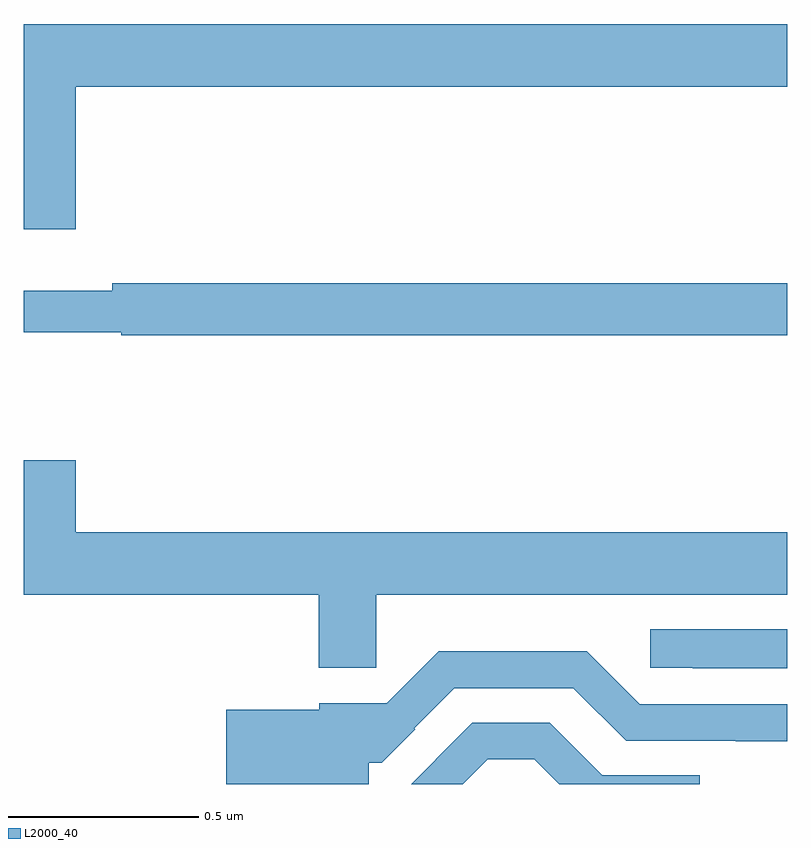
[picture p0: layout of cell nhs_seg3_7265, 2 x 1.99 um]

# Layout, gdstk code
import gdstk
lib = gdstk.Library(unit=1e-6, precision=1e-09)
def P(c, l, *ps):  # polygons
    for p in ps: c.add(gdstk.Polygon(p, *l))
L2000_40 = (2000, 40)

nhs_seg3_7265 = lib.new_cell('nhs_seg3_7265')
P(nhs_seg3_7265, L2000_40, [(201.136,722.228),(203,722.228),(203,722.392),(201,722.392),(201,721.854),(201.136,721.854)],
  [(203,721.712),(201.232,721.712),(201.232,721.693),(201,721.693),(201,721.584),(201.255,721.584),(201.255,721.576),(203,721.576)],
  [(201.923,720.896),(203,720.896),(203,721.06),(201.136,721.06),(201.136,721.249),(201,721.249),(201,720.896),(201.773,720.896),(201.773,720.705),(201.923,720.705)],
  [(203,720.805),(202.641,720.805),(202.641,720.705),(202.753,720.705),(202.753,720.704),(203,720.704)],
  [(201.904,720.456),(201.938,720.456),(202.026,720.543),(202.023,720.546),(202.128,720.651),(202.44,720.651),(202.578,720.513),(202.866,720.513),(202.866,720.512),(203,720.512),(203,720.609),(202.614,720.609),(202.475,720.748),(202.087,720.748),(201.951,720.612),(201.774,720.612),(201.774,720.595),(201.53,720.595),(201.53,720.4),(201.904,720.4)],
  [(202.215,720.465),(202.338,720.465),(202.403,720.4),(202.771,720.4),(202.771,720.423),(202.516,720.423),(202.378,720.561),(202.175,720.561),(202.079,720.465),(202.08,720.465),(202.015,720.4),(202.15,720.4)])

lib.write_gds('nhs_seg3_7265.gds')
